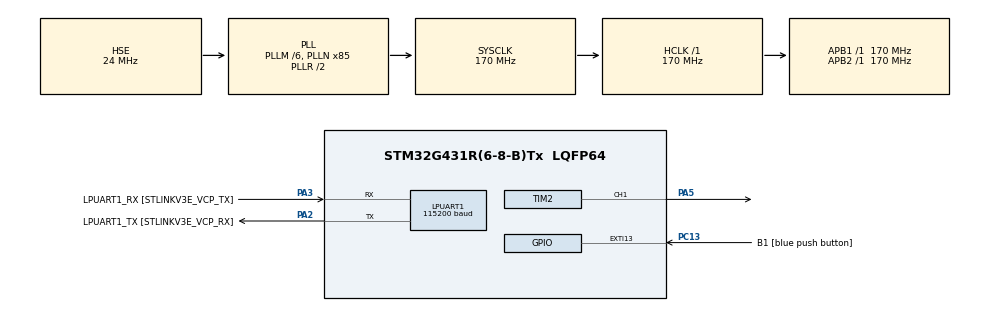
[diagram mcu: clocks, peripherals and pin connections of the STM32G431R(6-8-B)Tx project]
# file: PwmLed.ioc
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FREERTOS.Tasks01=defaultTask,24,128,StartDefaultTask,Default,NULL,Dynamic,NULL,NULL
FREERTOS.configUSE_NEWLIB_REENTRANT=1
LPUART1.BaudRate=115200
LPUART1.WordLength=UART_WORDLENGTH_8B
Mcu.Family=STM32G4
Mcu.Name=STM32G431R(6-8-B)Tx
Mcu.Package=LQFP64
NVIC.EXTI15_10_IRQn=true\:5\:0\:false\:false\:true\:true\:true\:true
NVIC.PriorityGroup=NVIC_PRIORITYGROUP_4
NVIC.TIM1_UP_TIM16_IRQn=true\:5\:0\:false\:false\:true\:true\:true\:true
NVIC.TIM2_IRQn=true\:5\:0\:false\:false\:true\:true\:true\:true
NVIC.TIM6_DAC_IRQn=true\:15\:0\:false\:false\:true\:false\:false\:true
NVIC.TimeBase=TIM6_DAC_IRQn
NVIC.TimeBaseIP=TIM6
PA13.GPIO_Label=T_SWDIO
PA13.Mode=Serial_Wire
PA13.Signal=SYS_JTMS-SWDIO
PA14.GPIO_Label=T_SWCLK
PA14.Mode=Serial_Wire
PA14.Signal=SYS_JTCK-SWCLK
PA2.GPIO_Label=LPUART1_TX [STLINKV3E_VCP_RX]
PA2.Mode=Asynchronous
PA2.Signal=LPUART1_TX
PA3.GPIO_Label=LPUART1_RX [STLINKV3E_VCP_TX]
PA3.Mode=Asynchronous
PA3.Signal=LPUART1_RX
PA5.GPIO_ModeDefaultPP=GPIO_MODE_AF_PP
PA5.GPIO_PuPd=GPIO_PULLDOWN
PA5.Signal=S_TIM2_CH1
PB3.Signal=SYS_JTDO-SWO
PC13.GPIO_Label=B1 [blue push button]
PC13.Signal=GPXTI13
PC14-OSC32_IN.Mode=LSE-External-Oscillator
PC14-OSC32_IN.Signal=RCC_OSC32_IN
PC15-OSC32_OUT.Mode=LSE-External-Oscillator
PC15-OSC32_OUT.Signal=RCC_OSC32_OUT
PF0-OSC_IN.Mode=HSE-External-Oscillator
PF0-OSC_IN.Signal=RCC_OSC_IN
PF1-OSC_OUT.Mode=HSE-External-Oscillator
PF1-OSC_OUT.Signal=RCC_OSC_OUT
ProjectManager.HeapSize=0x200
ProjectManager.StackSize=0x400
ProjectManager.TargetToolchain=STM32CubeIDE
RCC.ADC12Freq_Value=170000000
RCC.AHBFreq_Value=170000000
RCC.APB1Freq_Value=170000000
RCC.APB1TimFreq_Value=170000000
RCC.APB2Freq_Value=170000000
RCC.APB2TimFreq_Value=170000000
RCC.CortexFreq_Value=170000000
RCC.EXTERNAL_CLOCK_VALUE=12288000
RCC.HCLKFreq_Value=170000000
RCC.HSE_VALUE=24000000
RCC.HSI48_VALUE=48000000
RCC.HSI_VALUE=16000000
RCC.PLLM=RCC_PLLM_DIV6
RCC.PLLN=85
RCC.PLLSourceVirtual=RCC_PLLSOURCE_HSE
RCC.RTCClockSelection=RCC_RTCCLKSOURCE_LSE
RCC.SYSCLKFreq_VALUE=170000000
RCC.SYSCLKSource=RCC_SYSCLKSOURCE_PLLCLK
RCC.USBFreq_Value=170000000
RCC.VCOOutputFreq_Value=340000000
SH.S_TIM2_CH1.0=TIM2_CH1,PWM Generation1 CH1
TIM1.PeriodNoDither=10000
TIM1.Prescaler=850
TIM2.Channel-PWM\ Generation1\ CH1=TIM_CHANNEL_1
TIM2.OCFastMode_PWM-PWM\ Generation1\ CH1=TIM_OCFAST_DISABLE
TIM2.PeriodNoDither=100
TIM2.Prescaler=85
TIM2.PulseNoDither_1=0
VP_FREERTOS_VS_CMSIS_V2.Mode=CMSIS_V2
VP_SYS_VS_DBSignals.Mode=DisableDeadBatterySignals
VP_SYS_VS_tim6.Mode=TIM6
VP_TIM1_VS_ClockSourceINT.Mode=Internal
VP_TIM2_VS_ClockSourceINT.Mode=Internal
board=NUCLEO-G431RB

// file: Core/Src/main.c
/* USER CODE BEGIN Header */
/**
  ******************************************************************************
  * @file           : main.c
  * @brief          : Main program body
  ******************************************************************************
  * @attention
  *
  * <h2><center>&copy; Copyright (c) 2021 STMicroelectronics.
  * All rights reserved.</center></h2>
  *
  * This software component is licensed by ST under BSD 3-Clause license,
  * the "License"; You may not use this file except in compliance with the
  * License. You may obtain a copy of the License at:
  *                        opensource.org/licenses/BSD-3-Clause
  *
  ******************************************************************************
  */
/* USER CODE END Header */
#include "main.h"
#include "cmsis_os.h"

UART_HandleTypeDef hlpuart1;

TIM_HandleTypeDef htim1;
TIM_HandleTypeDef htim2;

/* Definitions for defaultTask */
osThreadId_t defaultTaskHandle;
const osThreadAttr_t defaultTask_attributes = {
  .name = "defaultTask",
  .priority = (osPriority_t) osPriorityNormal,
  .stack_size = 128 * 4
};
/* USER CODE BEGIN PV */
uint8_t ui8TimPulse = 50; // set duty cycle to 50% initially
enum{
	UP=0,
	DOWN
}eDir;
/* USER CODE END PV */

void SystemClock_Config(void);
static void MX_GPIO_Init(void);
static void MX_LPUART1_UART_Init(void);
static void MX_TIM2_Init(void);
static void MX_TIM1_Init(void);
void StartDefaultTask(void *argument);

/* USER CODE BEGIN 0 */

void change_pulse(){
	if (eDir == UP) {
		if( ui8TimPulse >= PWM_MAX )
			eDir = DOWN;
		else
			ui8TimPulse += PWM_MIN_CHANGE;
	} else {
		if ( ui8TimPulse <= PWM_MIN  )
			eDir = UP;
		else
			ui8TimPulse -= PWM_MIN_CHANGE;
	}
}

uint8_t blue_button_pressed = 0;
uint8_t start_pulse = 0;

void HAL_GPIO_EXTI_Callback(uint16_t GPIO_Pin) {
	if (GPIO_Pin == B1_Pin){
		if (HAL_GPIO_ReadPin(B1_GPIO_Port, B1_Pin) == GPIO_PIN_SET){
			//put_message_out_buffer("Blue Button.");
			__HAL_GPIO_EXTI_CLEAR_IT(B1_Pin);            //清除引脚中断
			blue_button_pressed = 1;
			if (start_pulse == 1){
				HAL_TIM_PWM_Stop(&htim2, TIM_CHANNEL_1);
				start_pulse = 0;
			}
			else{
				start_pulse = 1;
				HAL_TIM_PWM_Start(&htim2, TIM_CHANNEL_1);
			}
		}
		else if (HAL_GPIO_ReadPin(B1_GPIO_Port, B1_Pin) == GPIO_PIN_RESET){
			//put_message_out_buffer("Blue Button Release.");
			blue_button_pressed = 0;
		}
	}
}

/* USER CODE END 0 */

int main(void)
{

  /* MCU Configuration--------------------------------------------------------*/

  /* Reset of all peripherals, Initializes the Flash interface and the Systick. */
  HAL_Init();

  /* Configure the system clock */
  SystemClock_Config();

  /* Initialize all configured peripherals */
  MX_GPIO_Init();
  MX_LPUART1_UART_Init();
  MX_TIM2_Init();
  MX_TIM1_Init();
  /* USER CODE BEGIN 2 */
  //HAL_TIM_Base_Start_IT(&htim1);
  HAL_TIM_Base_Start_IT(&htim2);
  //HAL_TIM_PWM_Start(&htim2, TIM_CHANNEL_1);
  /* USER CODE END 2 */

  /* Init scheduler */
  osKernelInitialize();

  /* Create the thread(s) */
  /* creation of defaultTask */
  defaultTaskHandle = osThreadNew(StartDefaultTask, NULL, &defaultTask_attributes);

  /* Start scheduler */
  osKernelStart();

  /* We should never get here as control is now taken by the scheduler */
  /* Infinite loop */
  while (1)
  {

  }
}

void SystemClock_Config(void)
{
  RCC_OscInitTypeDef RCC_OscInitStruct = {0};
  RCC_ClkInitTypeDef RCC_ClkInitStruct = {0};
  RCC_PeriphCLKInitTypeDef PeriphClkInit = {0};

  /** Configure the main internal regulator output voltage
  */
  HAL_PWREx_ControlVoltageScaling(PWR_REGULATOR_VOLTAGE_SCALE1_BOOST);
  /** Initializes the RCC Oscillators according to the specified parameters
  * in the RCC_OscInitTypeDef structure.
  */
  RCC_OscInitStruct.OscillatorType = RCC_OSCILLATORTYPE_HSE;
  RCC_OscInitStruct.HSEState = RCC_HSE_ON;
  RCC_OscInitStruct.PLL.PLLState = RCC_PLL_ON;
  RCC_OscInitStruct.PLL.PLLSource = RCC_PLLSOURCE_HSE;
  RCC_OscInitStruct.PLL.PLLM = RCC_PLLM_DIV6;
  RCC_OscInitStruct.PLL.PLLN = 85;
  RCC_OscInitStruct.PLL.PLLP = RCC_PLLP_DIV2;
  RCC_OscInitStruct.PLL.PLLQ = RCC_PLLQ_DIV2;
  RCC_OscInitStruct.PLL.PLLR = RCC_PLLR_DIV2;
  if (HAL_RCC_OscConfig(&RCC_OscInitStruct) != HAL_OK)
  {
    Error_Handler();
  }
  /** Initializes the CPU, AHB and APB buses clocks
  */
  RCC_ClkInitStruct.ClockType = RCC_CLOCKTYPE_HCLK|RCC_CLOCKTYPE_SYSCLK
                              |RCC_CLOCKTYPE_PCLK1|RCC_CLOCKTYPE_PCLK2;
  RCC_ClkInitStruct.SYSCLKSource = RCC_SYSCLKSOURCE_PLLCLK;
  RCC_ClkInitStruct.AHBCLKDivider = RCC_SYSCLK_DIV1;
  RCC_ClkInitStruct.APB1CLKDivider = RCC_HCLK_DIV1;
  RCC_ClkInitStruct.APB2CLKDivider = RCC_HCLK_DIV1;

  if (HAL_RCC_ClockConfig(&RCC_ClkInitStruct, FLASH_LATENCY_4) != HAL_OK)
  {
    Error_Handler();
  }
  /** Initializes the peripherals clocks
  */
  PeriphClkInit.PeriphClockSelection = RCC_PERIPHCLK_LPUART1;
  PeriphClkInit.Lpuart1ClockSelection = RCC_LPUART1CLKSOURCE_PCLK1;
  if (HAL_RCCEx_PeriphCLKConfig(&PeriphClkInit) != HAL_OK)
  {
    Error_Handler();
  }
}

static void MX_LPUART1_UART_Init(void)
{

  hlpuart1.Instance = LPUART1;
  hlpuart1.Init.BaudRate = 115200;
  hlpuart1.Init.WordLength = UART_WORDLENGTH_8B;
  hlpuart1.Init.StopBits = UART_STOPBITS_1;
  hlpuart1.Init.Parity = UART_PARITY_NONE;
  hlpuart1.Init.Mode = UART_MODE_TX_RX;
  hlpuart1.Init.HwFlowCtl = UART_HWCONTROL_NONE;
  hlpuart1.Init.OneBitSampling = UART_ONE_BIT_SAMPLE_DISABLE;
  hlpuart1.Init.ClockPrescaler = UART_PRESCALER_DIV1;
  hlpuart1.AdvancedInit.AdvFeatureInit = UART_ADVFEATURE_NO_INIT;
  if (HAL_UART_Init(&hlpuart1) != HAL_OK)
  {
    Error_Handler();
  }
  if (HAL_UARTEx_SetTxFifoThreshold(&hlpuart1, UART_TXFIFO_THRESHOLD_1_8) != HAL_OK)
  {
    Error_Handler();
  }
  if (HAL_UARTEx_SetRxFifoThreshold(&hlpuart1, UART_RXFIFO_THRESHOLD_1_8) != HAL_OK)
  {
    Error_Handler();
  }
  if (HAL_UARTEx_DisableFifoMode(&hlpuart1) != HAL_OK)
  {
    Error_Handler();
  }

}

static void MX_TIM1_Init(void)
{

  TIM_ClockConfigTypeDef sClockSourceConfig = {0};
  TIM_MasterConfigTypeDef sMasterConfig = {0};

  htim1.Instance = TIM1;
  htim1.Init.Prescaler = 850;
  htim1.Init.CounterMode = TIM_COUNTERMODE_UP;
  htim1.Init.Period = 10000;
  htim1.Init.ClockDivision = TIM_CLOCKDIVISION_DIV1;
  htim1.Init.RepetitionCounter = 0;
  htim1.Init.AutoReloadPreload = TIM_AUTORELOAD_PRELOAD_DISABLE;
  if (HAL_TIM_Base_Init(&htim1) != HAL_OK)
  {
    Error_Handler();
  }
  sClockSourceConfig.ClockSource = TIM_CLOCKSOURCE_INTERNAL;
  if (HAL_TIM_ConfigClockSource(&htim1, &sClockSourceConfig) != HAL_OK)
  {
    Error_Handler();
  }
  sMasterConfig.MasterOutputTrigger = TIM_TRGO_RESET;
  sMasterConfig.MasterOutputTrigger2 = TIM_TRGO2_RESET;
  sMasterConfig.MasterSlaveMode = TIM_MASTERSLAVEMODE_DISABLE;
  if (HAL_TIMEx_MasterConfigSynchronization(&htim1, &sMasterConfig) != HAL_OK)
  {
    Error_Handler();
  }

}

static void MX_TIM2_Init(void)
{

  TIM_ClockConfigTypeDef sClockSourceConfig = {0};
  TIM_MasterConfigTypeDef sMasterConfig = {0};
  TIM_OC_InitTypeDef sConfigOC = {0};

  htim2.Instance = TIM2;
  htim2.Init.Prescaler = 85;
  htim2.Init.CounterMode = TIM_COUNTERMODE_UP;
  htim2.Init.Period = 100;
  htim2.Init.ClockDivision = TIM_CLOCKDIVISION_DIV1;
  htim2.Init.AutoReloadPreload = TIM_AUTORELOAD_PRELOAD_DISABLE;
  if (HAL_TIM_Base_Init(&htim2) != HAL_OK)
  {
    Error_Handler();
  }
  sClockSourceConfig.ClockSource = TIM_CLOCKSOURCE_INTERNAL;
  if (HAL_TIM_ConfigClockSource(&htim2, &sClockSourceConfig) != HAL_OK)
  {
    Error_Handler();
  }
  if (HAL_TIM_PWM_Init(&htim2) != HAL_OK)
  {
    Error_Handler();
  }
  sMasterConfig.MasterOutputTrigger = TIM_TRGO_RESET;
  sMasterConfig.MasterSlaveMode = TIM_MASTERSLAVEMODE_DISABLE;
  if (HAL_TIMEx_MasterConfigSynchronization(&htim2, &sMasterConfig) != HAL_OK)
  {
    Error_Handler();
  }
  sConfigOC.OCMode = TIM_OCMODE_PWM1;
  sConfigOC.Pulse = 0;
  sConfigOC.OCPolarity = TIM_OCPOLARITY_HIGH;
  sConfigOC.OCFastMode = TIM_OCFAST_DISABLE;
  if (HAL_TIM_PWM_ConfigChannel(&htim2, &sConfigOC, TIM_CHANNEL_1) != HAL_OK)
  {
    Error_Handler();
  }
  HAL_TIM_MspPostInit(&htim2);

}

static void MX_GPIO_Init(void)
{
  GPIO_InitTypeDef GPIO_InitStruct = {0};

  /* GPIO Ports Clock Enable */
  __HAL_RCC_GPIOC_CLK_ENABLE();
  __HAL_RCC_GPIOF_CLK_ENABLE();
  __HAL_RCC_GPIOA_CLK_ENABLE();
  __HAL_RCC_GPIOB_CLK_ENABLE();

  /*Configure GPIO pin : B1_Pin */
  GPIO_InitStruct.Pin = B1_Pin;
  GPIO_InitStruct.Mode = GPIO_MODE_IT_RISING;
  GPIO_InitStruct.Pull = GPIO_NOPULL;
  HAL_GPIO_Init(B1_GPIO_Port, &GPIO_InitStruct);

  /* EXTI interrupt init*/
  HAL_NVIC_SetPriority(EXTI15_10_IRQn, 5, 0);
  HAL_NVIC_EnableIRQ(EXTI15_10_IRQn);

}

void StartDefaultTask(void *argument)
{
  /* USER CODE BEGIN 5 */
  /* Infinite loop */
  for(;;)
  {
	  if (start_pulse == 1){
		  change_pulse();
		  TIM2->CCR1 = (htim2.Init.Period * ui8TimPulse) / 100u;
	  }
	  osDelay(50);
  }
  /* USER CODE END 5 */
}

void HAL_TIM_PeriodElapsedCallback(TIM_HandleTypeDef *htim)
{
  if (htim->Instance == TIM6) {
    HAL_IncTick();
  }
}

void Error_Handler(void)
{
  __disable_irq();
  while (1)
  {
  }
}

/************************ (C) COPYRIGHT STMicroelectronics *****END OF FILE****/
